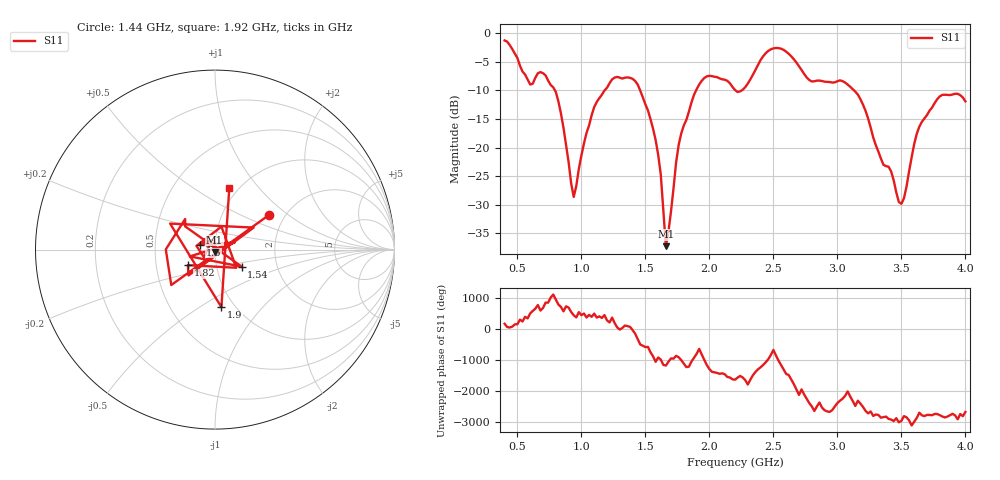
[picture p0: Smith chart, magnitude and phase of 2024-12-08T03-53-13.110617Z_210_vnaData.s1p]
!Created with skrf (http://scikit-rf.org).
# Hz S RI R 50.0
!freq ReS11 ImS11
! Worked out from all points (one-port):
!   181 points, 400 MHz to 4 GHz, reference 50 ohm
!   lowest |S11| = -37.2 dB at 1.66 GHz (marker M1), VSWR 1.03, Z = 49.7 - j1.35 ohm
!   |S11| at or under -10 dB: 792.6 MHz to 1.182 GHz (389 MHz wide, 39.4 % of centre); 1.459 GHz to 1.896 GHz (437.7 MHz wide, 26.1 % of centre); 3.129 GHz to end of sweep (the widest 3 of 4)
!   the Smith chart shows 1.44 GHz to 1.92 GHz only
!   S11 on the Smith chart (normalised r, x): 1.44 GHz: 1.65, +0.72; 1.54 GHz: 1.32, -0.26; 1.6 GHz: 0.85, +0.05; 1.82 GHz: 0.73, -0.13; 1.9 GHz: 0.87, -0.62; 1.92 GHz: 0.90, +0.72
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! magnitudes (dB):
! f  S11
! 400 MHz  -1.3
! 600 MHz  -9.0
! 720 MHz  -7.4
! 800 MHz  -10.3
! 860 MHz  -16.6
! 940 MHz  -28.6
! 1.1 GHz  -12.9
! 1.3 GHz  -7.8
! 1.44 GHz  -9.0
! 1.54 GHz  -15.1
! 1.6 GHz  -21.3
! 1.66 GHz  -37.2
! 1.76 GHz  -19.5
! 1.82 GHz  -15.2
! 1.9 GHz  -9.8
! 1.92 GHz  -9.0
! 2.2 GHz  -9.9
! 2.48 GHz  -2.8
! 2.66 GHz  -4.6
! 2.8 GHz  -8.5
! 3.1 GHz  -9.4
! 3.2 GHz  -12.5
! 3.48 GHz  -29.5
! 3.52 GHz  -28.9
! 3.56 GHz  -24.2
! 3.64 GHz  -16.4
! 3.78 GHz  -11.6
! 4 GHz  -11.9
